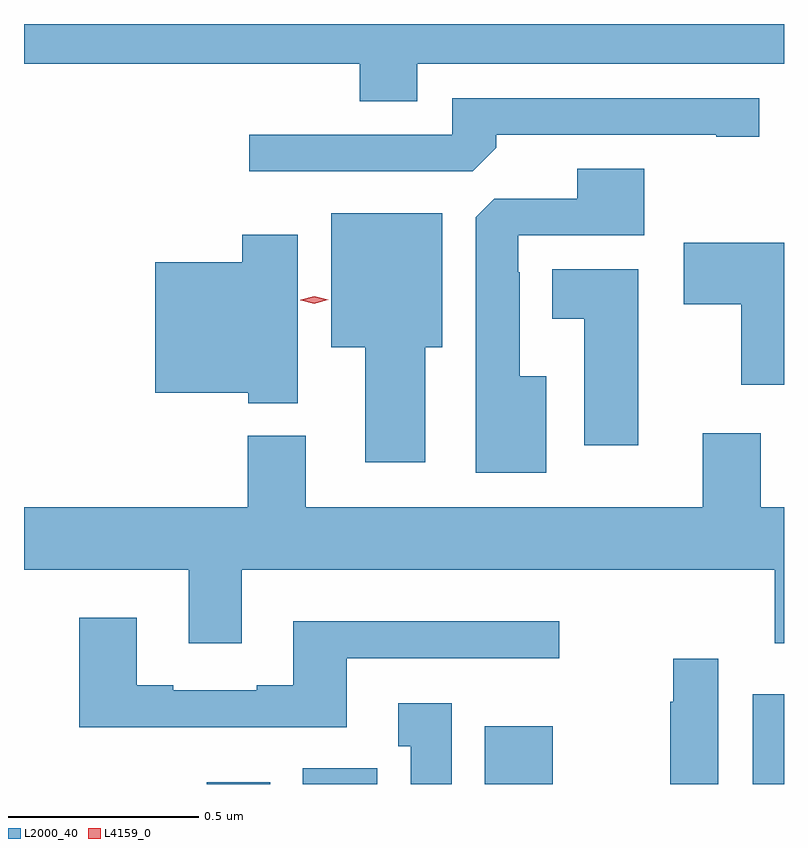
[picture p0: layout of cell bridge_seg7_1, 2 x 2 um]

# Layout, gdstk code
import gdstk
lib = gdstk.Library(unit=1e-6, precision=1e-09)
def R(c, l, rs):  # rectangles x0, y0, x1, y1
    for r in rs: c.add(gdstk.rectangle(r[:2], r[2:], *l))
def P(c, l, *ps):  # polygons
    for p in ps: c.add(gdstk.Polygon(p, *l))
L2000_40 = (2000, 40)
L4159_0 = (4159, 0)

bridge_seg7_1 = lib.new_cell('bridge_seg7_1')
R(bridge_seg7_1, L2000_40, [(1036.829,1049.336,1036.996,1049.341), (1037.081,1049.336,1037.277,1049.377), (1037.561,1049.336,1037.74,1049.488), (1038.266,1049.336,1038.348,1049.572)])
P(bridge_seg7_1, L2000_40, [(1037.383,1051.232),(1038.348,1051.232),(1038.348,1051.336),(1036.348,1051.336),(1036.348,1051.232),(1037.231,1051.232),(1037.231,1051.133),(1037.383,1051.133)],
  [(1037.591,1051.01),(1037.591,1051.044),(1038.17,1051.044),(1038.17,1051.039),(1038.283,1051.039),(1038.283,1051.14),(1037.475,1051.14),(1037.475,1051.044),(1036.941,1051.044),(1036.941,1050.948),(1037.529,1050.948)],
  [(1037.722,1050.409),(1037.653,1050.409),(1037.653,1050.683),(1037.649,1050.683),(1037.649,1050.78),(1037.98,1050.78),(1037.98,1050.955),(1037.804,1050.955),(1037.804,1050.876),(1037.586,1050.876),(1037.537,1050.827),(1037.537,1050.155),(1037.722,1050.155)],
  [(1037.404,1050.485),(1037.449,1050.485),(1037.449,1050.838),(1037.156,1050.838),(1037.156,1050.485),(1037.246,1050.485),(1037.246,1050.183),(1037.404,1050.183)],
  [(1037.068,1050.781),(1036.922,1050.781),(1036.922,1050.709),(1036.694,1050.709),(1036.694,1050.365),(1036.938,1050.365),(1036.938,1050.338),(1037.068,1050.338)],
  [(1038.348,1050.76),(1038.084,1050.76),(1038.084,1050.598),(1038.236,1050.598),(1038.236,1050.387),(1038.348,1050.387)],
  [(1037.965,1050.691),(1037.738,1050.691),(1037.738,1050.56),(1037.822,1050.56),(1037.822,1050.228),(1037.965,1050.228)],
  [(1036.921,1049.9),(1038.323,1049.9),(1038.323,1049.706),(1038.348,1049.706),(1038.348,1050.064),(1038.287,1050.064),(1038.287,1050.259),(1038.134,1050.259),(1038.134,1050.064),(1037.089,1050.064),(1037.089,1050.253),(1036.937,1050.253),(1036.937,1050.064),(1036.348,1050.064),(1036.348,1049.9),(1036.781,1049.9),(1036.781,1049.706),(1036.921,1049.706)],
  [(1037.197,1049.667),(1037.757,1049.667),(1037.757,1049.764),(1037.057,1049.764),(1037.057,1049.596),(1036.961,1049.596),(1036.961,1049.583),(1036.741,1049.583),(1036.741,1049.596),(1036.645,1049.596),(1036.645,1049.773),(1036.493,1049.773),(1036.493,1049.486),(1037.197,1049.486)],
  [(1038.175,1049.665),(1038.056,1049.665),(1038.056,1049.552),(1038.049,1049.552),(1038.049,1049.336),(1038.175,1049.336)],
  [(1037.473,1049.548),(1037.333,1049.548),(1037.333,1049.435),(1037.366,1049.435),(1037.366,1049.336),(1037.473,1049.336)])
P(bridge_seg7_1, L4159_0, [(1037.112,1050.6),(1037.076,1050.609),(1037.075,1050.609),(1037.076,1050.61),(1037.112,1050.62),(1037.148,1050.611),(1037.148,1050.611),(1037.148,1050.61)])

lib.write_gds('bridge_seg7_1.gds')
